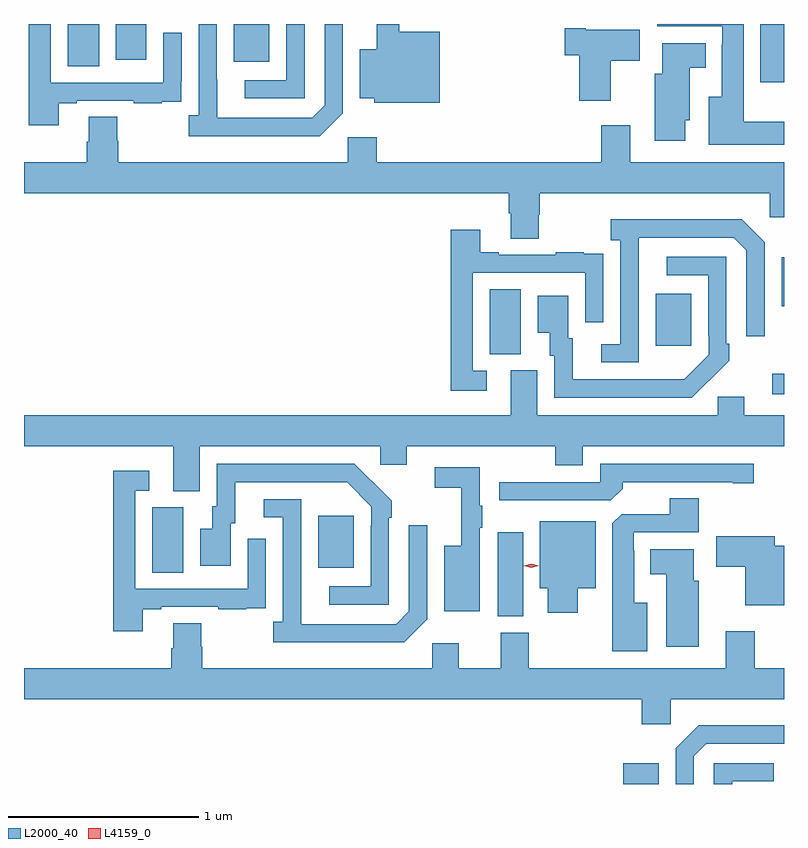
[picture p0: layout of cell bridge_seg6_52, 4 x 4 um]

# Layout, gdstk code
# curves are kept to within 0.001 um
import gdstk
lib = gdstk.Library(unit=1e-6, precision=1e-09)
def R(c, l, rs):  # rectangles x0, y0, x1, y1
    for r in rs: c.add(gdstk.rectangle(r[:2], r[2:], *l))
def P(c, l, *ps):  # polygons
    for p in ps: c.add(gdstk.Polygon(p, *l))
L2000_40 = (2000, 40)
L4159_0 = (4159, 0)

bridge_seg6_52 = lib.new_cell('bridge_seg6_52')
R(bridge_seg6_52, L2000_40, [(1091.54,980.191,1091.728,980.299), (1090.88,981.073,1091.014,981.517), (1089.062,981.304,1089.226,981.648), (1089.935,981.329,1090.123,981.604), (1092.324,982.242,1092.387,982.351), (1090.838,982.453,1091.002,982.796), (1091.711,982.497,1091.899,982.771), (1092.374,982.706,1092.387,982.963), (1092.263,983.885,1092.387,984.191), (1088.618,983.968,1088.782,984.191), (1089.491,983.993,1089.679,984.191), (1088.87,984.003,1089.031,984.191)])
P(bridge_seg6_52, L2000_40, [(1089.864,984.191),(1089.768,984.191),(1089.768,983.895),(1089.549,983.895),(1089.549,983.799),(1089.864,983.799)],
  [(1090.065,983.721),(1090.065,984.191),(1089.969,984.191),(1089.969,983.763),(1089.903,983.697),(1089.403,983.697),(1089.402,984.191),(1089.306,984.191),(1089.306,983.71),(1089.255,983.71),(1089.255,983.6),(1089.944,983.6)],
  [(1088.569,983.775),(1088.665,983.775),(1088.665,983.787),(1088.965,983.787),(1088.965,983.775),(1089.113,983.775),(1089.113,983.781),(1089.215,983.781),(1089.215,983.89),(1089.216,983.89),(1089.216,984.145),(1089.12,984.145),(1089.12,983.883),(1088.529,983.883),(1088.529,984.191),(1088.413,984.191),(1088.413,983.658),(1088.569,983.658)],
  [(1092.387,983.677),(1092.175,983.677),(1092.175,984.191),(1091.72,984.191),(1091.72,984.18),(1092.063,984.18),(1092.063,984.083),(1092.059,984.083),(1092.059,983.809),(1091.99,983.809),(1091.99,983.555),(1092.387,983.555)],
  [(1090.576,984.151),(1090.361,984.151),(1090.361,984.191),(1090.244,984.191),(1090.244,984.058),(1090.154,984.058),(1090.154,983.801),(1090.23,983.801),(1090.23,983.777),(1090.576,983.777)],
  [(1091.476,983.998),(1091.629,983.998),(1091.629,984.16),(1091.344,984.16),(1091.344,984.168),(1091.232,984.168),(1091.232,984.026),(1091.309,984.026),(1091.309,983.787),(1091.476,983.787)],
  [(1091.866,983.685),(1091.89,983.685),(1091.89,983.96),(1091.974,983.96),(1091.974,984.091),(1091.747,984.091),(1091.747,983.929),(1091.708,983.929),(1091.708,983.577),(1091.866,983.577)],
  [(1091.097,983.187),(1091.102,983.187),(1091.102,983.3),(1092.312,983.3),(1092.312,983.174),(1092.387,983.174),(1092.387,983.464),(1091.578,983.464),(1091.578,983.659),(1091.426,983.659),(1091.426,983.464),(1090.244,983.464),(1090.244,983.596),(1090.092,983.596),(1090.092,983.464),(1088.882,983.464),(1088.882,983.577),(1088.877,983.577),(1088.877,983.702),(1088.729,983.702),(1088.729,983.57),(1088.717,983.57),(1088.717,983.464),(1088.387,983.464),(1088.387,983.3),(1090.937,983.3),(1090.937,983.194),(1090.949,983.194),(1090.949,983.062),(1091.097,983.062)],
  [(1091.622,982.867),(1091.623,983.067),(1092.123,983.067),(1092.189,983.001),(1092.189,982.548),(1092.285,982.548),(1092.285,983.043),(1092.164,983.164),(1091.475,983.164),(1091.475,983.054),(1091.526,983.054),(1091.526,982.506),(1091.424,982.506),(1091.424,982.41),(1091.622,982.41)],
  [(1090.822,982.365),(1090.749,982.365),(1090.749,982.881),(1091.34,982.881),(1091.34,982.62),(1091.436,982.62),(1091.436,982.874),(1091.435,982.874),(1091.435,982.983),(1091.333,982.983),(1091.333,982.99),(1091.185,982.99),(1091.185,982.977),(1090.885,982.977),(1090.885,982.99),(1090.789,982.99),(1090.789,983.107),(1090.633,983.107),(1090.633,982.26),(1090.822,982.26)],
  [(1091.993,982.315),(1091.994,982.314),(1092.099,982.419),(1092.099,982.507),(1092.084,982.507),(1092.084,982.965),(1091.769,982.965),(1091.769,982.869),(1091.988,982.869),(1091.988,982.549),(1091.991,982.549),(1091.991,982.449),(1091.863,982.321),(1091.275,982.32),(1091.275,982.536),(1091.251,982.536),(1091.251,982.762),(1091.09,982.762),(1091.09,982.565),(1091.153,982.565),(1091.153,982.446),(1091.178,982.446),(1091.178,982.224),(1091.902,982.224)],
  [(1089.313,981.968),(1090.263,981.968),(1090.263,981.87),(1090.402,981.87),(1090.402,981.968),(1091.182,981.968),(1091.182,981.869),(1091.329,981.869),(1091.329,981.968),(1092.387,981.968),(1092.387,982.132),(1092.178,982.132),(1092.178,982.23),(1092.039,982.23),(1092.039,982.132),(1091.089,982.132),(1091.089,982.368),(1090.949,982.368),(1090.949,982.132),(1088.387,982.132),(1088.387,981.968),(1089.173,981.968),(1089.173,981.733),(1089.313,981.733)],
  [(1090.308,981.593),(1090.323,981.593),(1090.323,981.681),(1090.126,981.876),(1089.402,981.876),(1089.402,981.654),(1089.377,981.654),(1089.377,981.535),(1089.314,981.535),(1089.314,981.339),(1089.475,981.339),(1089.475,981.564),(1089.499,981.564),(1089.499,981.78),(1090.087,981.78),(1090.215,981.651),(1090.215,981.551),(1090.212,981.551),(1090.212,981.231),(1089.993,981.231),(1089.993,981.135),(1090.308,981.135)],
  [(1091.537,981.746),(1091.537,981.78),(1092.116,981.78),(1092.116,981.775),(1092.229,981.775),(1092.229,981.876),(1091.421,981.876),(1091.421,981.78),(1090.887,981.78),(1090.887,981.684),(1091.475,981.684)],
  [(1090.786,981.541),(1090.798,981.541),(1090.798,981.655),(1090.785,981.655),(1090.785,981.858),(1090.548,981.858),(1090.548,981.75),(1090.688,981.75),(1090.688,981.445),(1090.598,981.445),(1090.598,981.101),(1090.786,981.101)],
  [(1089.013,981.111),(1089.109,981.111),(1089.109,981.123),(1089.409,981.123),(1089.409,981.111),(1089.557,981.111),(1089.557,981.117),(1089.659,981.117),(1089.659,981.226),(1089.66,981.226),(1089.66,981.481),(1089.564,981.481),(1089.564,981.219),(1088.973,981.219),(1088.973,981.735),(1089.046,981.735),(1089.046,981.841),(1088.857,981.841),(1088.857,980.994),(1089.013,980.994)],
  [(1091.668,981.145),(1091.599,981.145),(1091.599,981.419),(1091.595,981.419),(1091.595,981.516),(1091.939,981.516),(1091.939,981.695),(1091.786,981.695),(1091.786,981.612),(1091.532,981.612),(1091.483,981.563),(1091.483,980.891),(1091.668,980.891)],
  [(1090.509,981.057),(1090.509,981.553),(1090.413,981.553),(1090.413,981.099),(1090.347,981.033),(1089.847,981.033),(1089.846,981.69),(1089.648,981.69),(1089.648,981.594),(1089.75,981.594),(1089.75,981.046),(1089.699,981.046),(1089.699,980.936),(1090.388,980.936)],
  [(1091.302,981.221),(1091.395,981.221),(1091.395,981.574),(1091.102,981.574),(1091.102,981.221),(1091.144,981.221),(1091.144,981.093),(1091.302,981.093)],
  [(1092.387,981.445),(1092.337,981.445),(1092.337,981.496),(1092.03,981.496),(1092.03,981.334),(1092.182,981.334),(1092.182,981.131),(1092.387,981.131)],
  [(1091.938,981.261),(1091.911,981.261),(1091.911,981.427),(1091.684,981.427),(1091.684,981.296),(1091.768,981.296),(1091.768,980.913),(1091.938,980.913)],
  [(1091.79,980.636),(1092.387,980.636),(1092.387,980.8),(1092.233,980.8),(1092.233,980.995),(1092.08,980.995),(1092.08,980.8),(1091.043,980.8),(1091.043,980.988),(1090.895,980.988),(1090.895,980.8),(1090.675,980.8),(1090.675,980.932),(1090.536,980.932),(1090.536,980.8),(1089.326,980.8),(1089.326,980.913),(1089.321,980.913),(1089.321,981.038),(1089.173,981.038),(1089.173,980.906),(1089.161,980.906),(1089.161,980.8),(1088.387,980.8),(1088.387,980.636),(1091.639,980.636),(1091.639,980.505),(1091.79,980.505)],
  [(1091.913,980.337),(1091.979,980.403),(1092.387,980.403),(1092.387,980.5),(1091.938,980.5),(1091.817,980.379),(1091.817,980.191),(1091.913,980.191)],
  [(1092.114,980.205),(1092.334,980.205),(1092.334,980.301),(1092.018,980.301),(1092.018,980.191),(1092.114,980.191)])
P(bridge_seg6_52, L4159_0, [(1091.056,981.329),(1091.016,981.339),(1091.016,981.339),(1091.016,981.339),(1091.056,981.349),(1091.095,981.339),(1091.095,981.339),(1091.095,981.339)])

lib.write_gds('bridge_seg6_52.gds')
